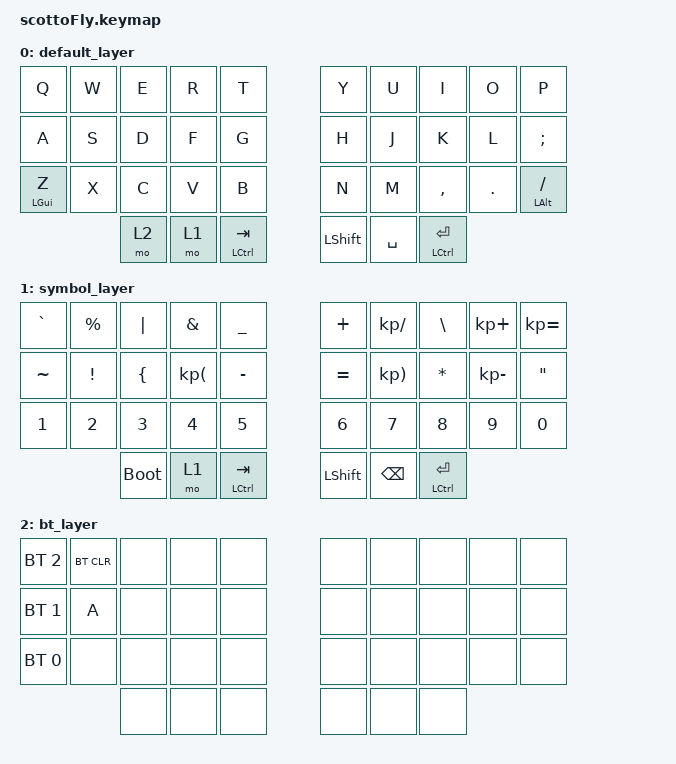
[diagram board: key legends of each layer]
#include <behaviors.dtsi>
#include <dt-bindings/zmk/keys.h>
#include <dt-bindings/zmk/bt.h>

/ {  
    keymap {
        compatible = "zmk,keymap";

        default_layer {
            bindings = <
                &kp Q   &kp W   &kp E   &kp R   &kp T   &kp Y   &kp U   &kp I       &kp O       &kp P
                &kp A   &kp S   &kp D   &kp F   &kp G   &kp H   &kp J   &kp K       &kp L       &kp SEMICOLON
                &mt LEFT_GUI Z   &kp X   &kp C   &kp V   &kp B   &kp N   &kp M   &kp COMMA   &kp DOT     &mt LEFT_ALT SLASH
                                &mo 2   &mo 1   &mt LEFT_CONTROL TAB &kp LEFT_SHIFT  &kp SPACE   &mt LEFT_CONTROL RET
            >;
        }; 

        symbol_layer {
            bindings = <
                &kp GRAVE   &kp PERCENT   &kp PIPE   &kp AMPERSAND   &kp UNDERSCORE   &kp PLUS   &kp KP_SLASH   &kp  BACKSLASH      &kp KP_PLUS       &kp KP_EQUAL
                &kp TILDE   &kp EXCLAMATION   &kp LEFT_BRACE   &kp KP_LEFT_PARENTHESIS   &kp MINUS  &kp EQUAL   &kp KP_RIGHT_PARENTHESIS   &kp ASTERISK       &kp KP_MINUS       &kp DOUBLE_QUOTES
                &kp N1   &kp N2   &kp N3   &kp N4   &kp N5   &kp N6   &kp N7   &kp N8   &kp N9     &kp N0
                                   &bootloader &mo 1  &mt LEFT_CONTROL TAB &kp LEFT_SHIFT  &kp BACKSPACE    &mt LEFT_CONTROL  RET
            >;
        };  

        bt_layer {
            bindings = <
                &bt BT_SEL 2    &bt BT_CLR  &none   &none   &none   &none   &none   &none   &none   &none
                &bt BT_SEL 1    &kp A       &none   &none   &none   &none   &none   &none   &none   &none
                &bt BT_SEL 0    &none       &none   &none   &none   &none   &none   &none   &none   &none
                                            &none   &none   &none   &none   &none   &none
            >;
        };
    };
};
